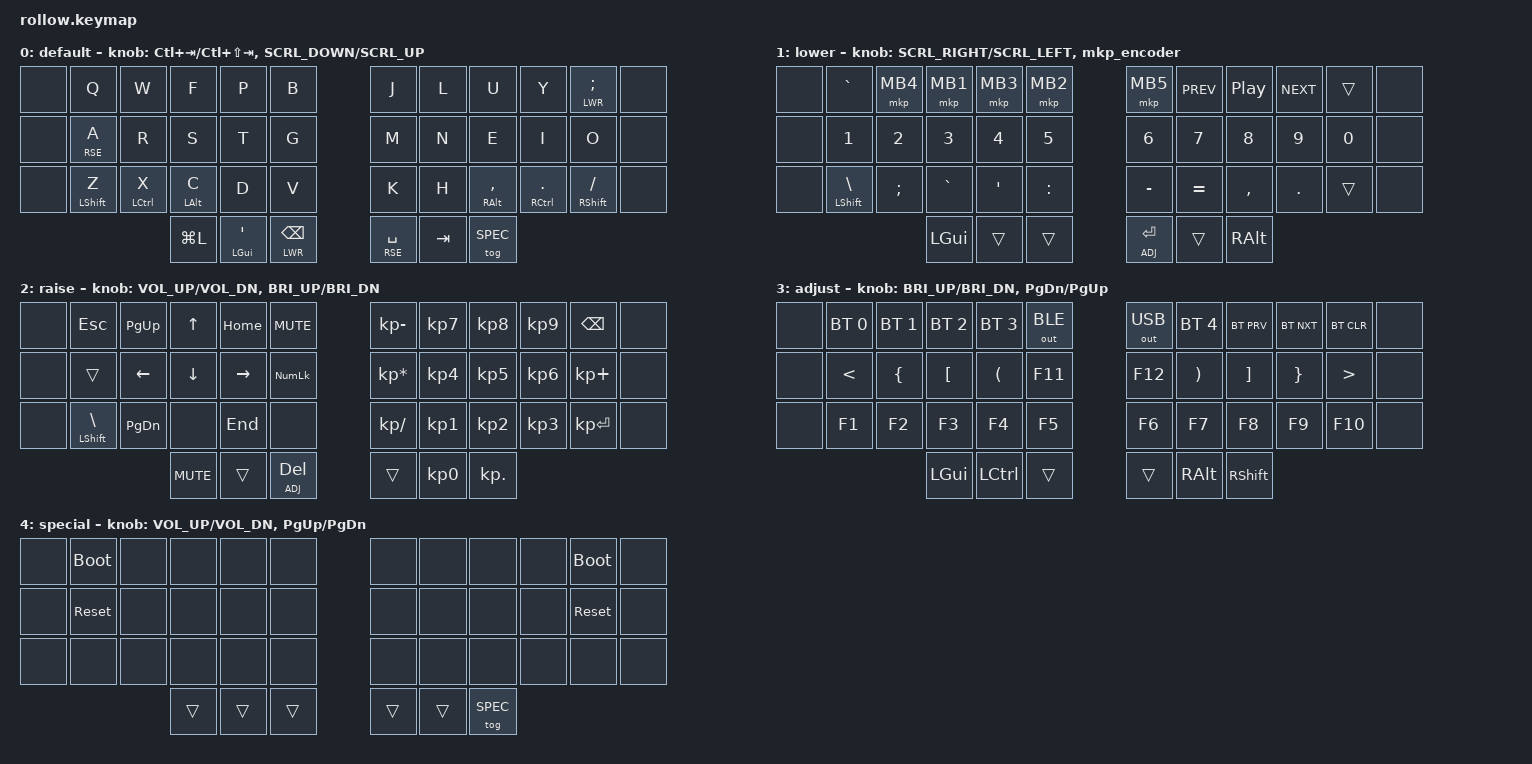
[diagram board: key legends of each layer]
/*
 * Copyright (c) 2020 The ZMK Contributors
 *
 * SPDX-License-Identifier: MIT
 */

#include <behaviors.dtsi>
#include <dt-bindings/zmk/keys.h>
#include <dt-bindings/zmk/bt.h>
#include <dt-bindings/zmk/outputs.h>
#include <dt-bindings/zmk/pointing.h>

#define COL   0
#define COLL  1
#define COLR  2

#define DEF 0
#define LWR 1
#define RSE 2
#define ADJ 3
#define SPEC 4

#define BT(n) BT_SEL n

// Using layer taps on thumbs, having quick tap as well helps w/ repeating space/backspace
&lt { quick_tap_ms = <200>; };

/ {
    behaviors {
        hm: homerow_mods {
            compatible = "zmk,behavior-hold-tap";
            label = "homerow mods";
            #binding-cells = <2>;
            tapping-term-ms = <175>;
            flavor = "tap-preferred";
            bindings = <&kp>, <&kp>;
        };

        mkp_encoder: mkp_encoder {
            compatible = "zmk,behavior-sensor-rotate";
                #sensor-binding-cells = <0>;
            bindings = <&mkp MB5>, <&mkp MB4>;
            tap-ms = <200>;
        };

        msc_encoder: msc_encoder {
            compatible = "zmk,behavior-sensor-rotate-var";
           	#sensor-binding-cells = <2>;
            bindings = <&msc>, <&msc>;
            tap-ms = <200>;
        };
    };

    combos {
        compatible = "zmk,combos";
        combo_esc {
            timeout-ms = <25>;
            key-positions = <1 2>;
            bindings = <&kp ESC>;
        };
        combo_caps {
            timeout-ms = <25>;
            key-positions = <13 14 15>;
            bindings = <&kp CAPS>;
        };
        combo_lmouse {
            timeout-ms = <25>;
            key-positions = <15 16>;
            bindings = <&mkp MB1>;
        };
        combo_mmouse {
            timeout-ms = <25>;
            key-positions = <4 16>;
            bindings = <&mkp MB3>;
        };
        combo_rmouse {
            timeout-ms = <25>;
            key-positions = <16 17>;
            bindings = <&mkp MB2>;
        };
    };
};

/ {
    keymap {
        compatible = "zmk,keymap";

        default {
/* Default (Colemak-DH)
 * .-----------------------------------------.                    .-----------------------------------------.
 * | xxxx |   Q  |   W  |   F  |   P  |   B  |                    |   J  |   L  |   U  |   Y  | LOW-;| xxxx |
 * |------+------+------+------+------+------|                    |------+------+------+------+------+------|
 * | xxxx | RSE-A|   R  |   S  |   T  |   G  |                    |   M  |   N  |   E  |   I  |   O  | xxxx |
 * |------+------+------+------+------+------|                    |------+------+------+------+------+------|
 * | xxxx |SHFT-Z|CTRL-X| ALT-C|   D  |   V  |-------.    .-------|   K  |   H  | ALT-,|CTRL-.|SHFT-/| xxxx |
 * '-----------------------------------------/       /     \      \-----------------------------------------'
 *                         |  LOCK | QUOT | / BSPACE/       \ Space\  | Tab  | TOG  |
 *                         |       |(GUI) |/ (LWR) /         \ (RSE)\ |      |(SPEC)|
 *                         '--------------''------'           '------''-------------'
 *
 *   Encoder Left: CTRL+SHIFT+TAB <-> CTRL+TAB
 *   Encoder Right: Mouse Scroll Up <-> Down
 */
            bindings = <
    &none     &kp Q          &kp W          &kp F          &kp P          &kp B          &kp J          &kp L          &kp U          &kp Y          &lt LWR SEMI   &none
    &none     &lt RSE A      &kp R          &kp S          &kp T          &kp G          &kp M          &kp N          &kp E          &kp I          &kp O          &none
    &none     &hm LSHFT Z    &hm LCTRL X    &hm LALT C     &kp D          &kp V          &kp K          &kp H          &hm RALT COMMA &hm RCTRL DOT  &hm RSHFT FSLH &none
                                            &kp LG(L)      &hm LGUI SQT   &lt LWR BSPC   &lt RSE SPACE  &kp TAB        &tog SPEC
                        >;
                        sensor-bindings = 
                                <&inc_dec_kp LC(TAB) LC(LS(TAB))>,      //Left Encoder: tabs
                                <&msc_encoder SCRL_DOWN SCRL_UP>;       //Right Encoder: scroll
                };

        lower {
/* LOWER (Numbers/Symbols)
 * .-----------------------------------------.                    .-----------------------------------------.
 * | xxxx |  `~  | BACK | LCLK | MCLK | RCLK |                    | FRWD | PREV | PLAY | NEXT | trans| xxxx |
 * |------+------+------+------+------+------|                    |------+------+------+------+------+------|
 * | xxxx |   1  |   2  |   3  |   4  |   5  |                    |   6  |   7  |   8  |   9  |   0  | xxxx |
 * |------+------+------+------+------+------|                    |------+------+------+------+------+------|
 * | xxxx |SHFT-\|  ;:  |  `~  |  '"  |   :  |-------.    .-------|  -_  |  =+  |  ,<  |  .>  |SHFT-/| xxxx |
 * '-----------------------------------------/       /     \      \-----------------------------------------'
 *                          |  GUI | (xx) | / (xxx) /       \ Enter\  | (xx) |  ALT |
 *                          |      |      |/       /         \ (ADJ)\ |      |      |
 *                          '-------------''------'           '------''-------------'
 * 
 *   Encoder Left: Mouse Scroll Left <-> Right
 *   Encoder Right: Mouse Back <-> Mouse Forward
 */
            bindings = <
    &none     &kp GRAVE      &mkp MB4       &mkp MB1       &mkp MB3       &mkp MB2       &mkp MB5       &kp C_PREV     &kp C_PP       &kp C_NEXT     &trans         &none
    &none     &kp N1         &kp N2         &kp N3         &kp N4         &kp N5         &kp N6         &kp N7         &kp N8         &kp N9         &kp N0         &none
    &none     &hm LSHFT BSLH &kp SEMI       &kp GRAVE      &kp SQT        &kp COLON      &kp MINUS      &kp EQUAL      &kp COMMA      &kp DOT        &trans         &none
                                            &kp LGUI       &trans         &trans         &lt ADJ RET    &trans         &kp RALT
                        >;
                        sensor-bindings = 
                                <&msc_encoder SCRL_RIGHT SCRL_LEFT>,    //Left Encoder: Mouse Scroll L/R
                                <&mkp_encoder>;                         //Right Encoder: Mouse Back/Forward
                };

        raise {
/* RAISE (Numpad and Navigation)
 * .-----------------------------------------.                    .-----------------------------------------.
 * | xxxx | ESC  | PGUP |  UP  | HOME | MUTE |                    | KP_- | KP_7 | KP_8 | KP_9 | BKSP | xxxx |
 * |------+------+------+------+------+------|                    |------+------+------+------+------+------|
 * | xxxx | (xx) | LEFT | DOWN | RIGHT| NMLK |                    | KP_* | KP_4 | KP_5 | KP_6 | KP_+ | xxxx |
 * |------+------+------+------+------+------|                    |------+------+------+------+------+------|
 * | xxxx | SHFT | PGDN |      | END  |      |-------.    .-------| KP_/ | KP_1 | KP_2 | KP_3 |KP_ENT| xxxx |
 * '-----------------------------------------/       /     \      \-----------------------------------------'
 *                          | Play | (xx) | /DELETE /       \ (xxx)\  | KP_0 | KP_. |
 *                          | Pause|      |/ (ADJ) /         \      \ |      |      |
 *                          '------------''------'            '------''-------------'
 *
 *   Encoder Left: VOL_DN <-> VOL_UP
 *   Encoder Right: BRI_UP <-> BRI_DN
 */
            bindings = <
    &none     &kp ESC        &kp PG_UP      &kp UP         &kp HOME       &kp C_MUTE    &kp KP_MINUS    &kp KP_N7      &kp KP_N8      &kp KP_N9      &kp BSPC       &none
    &none     &trans         &kp LEFT       &kp DOWN       &kp RIGHT      &kp KP_NUM    &kp KP_ASTERISK &kp KP_N4      &kp KP_N5      &kp KP_N6      &kp KP_PLUS    &none
    &none     &hm LSHFT BSLH &kp PG_DN      &none          &kp END        &none         &kp KP_DIVIDE   &kp KP_N1      &kp KP_N2      &kp KP_N3      &kp KP_ENTER   &none
                                            &kp C_MUTE     &trans         &lt ADJ DEL   &trans          &kp KP_N0      &kp KP_DOT
                        >;
                        sensor-bindings = 
                                <&inc_dec_kp C_VOL_UP C_VOL_DN>,        //Left Encoder: Volume
                                <&inc_dec_kp C_BRI_UP C_BRI_DN>;        //Right Encoder: displayBrightness
                };
 
        adjust {
/* ADJUST (Functions and BT)
 * .-----------------------------------------.                    .-----------------------------------------.
 * | xxxx | BT 0 | BT 1 | BT 2 | BT 3 |  BLE |                    |  USB | BT 4 |BTPREV|BTNEXT|BT_CLR| xxxx |
 * |------+------+------+------+------+------|                    |------+------+------+------+------+------|
 * | xxxx |   <  |   {  |   [  |   (  |  F11 |                    |  F12 |   )  |   ]  |   }  |   >  | xxxx |
 * |------+------+------+------+------+------|                    |------+------+------+------+------+------|
 * | xxxx |  F1  |  F2  |  F3  |  F4  |  F5  |-------.    .-------|  F6  |  F7  |  F8  |  F9  |  F10 | xxxx |
 * '-----------------------------------------/       /     \      \-----------------------------------------'
 *                          |      |      | / (xxx) /       \ (xxx)\  |      |      |
 *                          |      |      |/       /         \      \ |      |      |
 *                          '------------''------'            '------''-------------'
 *
 *   Encoder Left: -
 *   Encoder Right: VOL_UP <-> VOL_D
 */
            bindings = <
    &none     &bt BT_SEL 0   &bt BT_SEL 1   &bt BT_SEL 2   &bt BT_SEL 3   &out OUT_BLE   &out OUT_USB   &bt BT_SEL 4   &bt BT_PRV     &bt BT_NXT     &bt BT_CLR     &none
    &none     &kp LT         &kp LBRC       &kp LBKT       &kp LPAR       &kp F11        &kp F12        &kp RPAR       &kp RBKT       &kp RBRC       &kp GT         &none
    &none     &kp F1         &kp F2         &kp F3         &kp F4         &kp F5         &kp F6         &kp F7         &kp F8         &kp F9         &kp F10        &none
                                            &kp LGUI       &kp LCTRL      &trans         &trans         &kp RALT       &kp RSHFT
                        >;
                        sensor-bindings = 
                                <&inc_dec_kp C_BRI_UP C_BRI_DN>,        //Left Encoder:
                                <&inc_dec_kp PG_DN PG_UP>;              //Right Encoder:
                };

        special {
/* SPECIAL (CUSTOM LAYER (games?)) TODO: UPDATE after 7/5/2022
 * .-----------------------------------------.                    .-----------------------------------------.
 * | xxxx | BL_L |      |      |      |      |                    |      |      |      |      | BL_R | xxxx |
 * |------+------+------+------+------+------|                    |------+------+------+------+------+------|
 * | xxxx | RST_L|      |      |      |      |                    |      |      |      |      | RST_R| xxxx |
 * |------+------+------+------+------+------|                    |------+------+------+------+------+------|
 * | xxxx |      |      |      |      |      |-------.    .-------|      |      |      |      |      | xxxx |
 * '-----------------------------------------/       /     \      \-----------------------------------------'
 *                          | Play |      | / (xxx) /       \ (xxx)\  |      |  ALT |
 *                          | Paus |      |/       /         \      \ |      |      |
 *                          '------------''------'            '------''-------------'
 *
 *   Encoder Left: -
 *   Encoder Right: VOL_UP <-> VOL_D
 */
            bindings = <
    &none     &bootloader    &none          &none          &none          &none          &none          &none          &none          &none          &bootloader    &none
    &none     &sys_reset     &none          &none          &none          &none          &none          &none          &none          &none          &sys_reset     &none
    &none     &none          &none          &none          &none          &none          &none          &none          &none          &none          &none          &none
                                            &trans         &trans         &trans         &trans         &trans         &tog SPEC
                        >;
                        sensor-bindings = <&inc_dec_kp C_VOL_UP C_VOL_DN &inc_dec_kp PG_UP PG_DN>;
                };
        };
};
